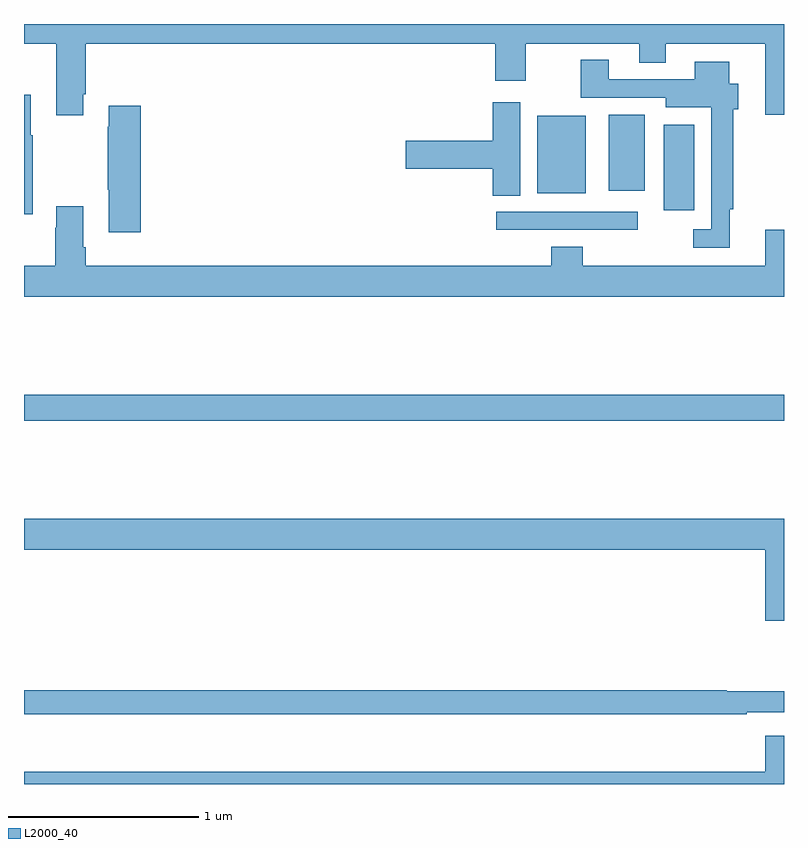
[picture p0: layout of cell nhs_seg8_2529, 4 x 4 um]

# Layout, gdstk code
import gdstk
lib = gdstk.Library(unit=1e-6, precision=1e-09)
def R(c, l, rs):  # rectangles x0, y0, x1, y1
    for r in rs: c.add(gdstk.rectangle(r[:2], r[2:], *l))
def P(c, l, *ps):  # polygons
    for p in ps: c.add(gdstk.Polygon(p, *l))
L2000_40 = (2000, 40)

nhs_seg8_2529 = lib.new_cell('nhs_seg8_2529')
R(nhs_seg8_2529, L2000_40, [(269,1151.812,273,1151.948), (271.485,1152.816,272.23,1152.912), (272.366,1152.921,272.527,1153.369), (271.7,1153.01,271.957,1153.417), (272.078,1153.022,272.266,1153.423)])
P(nhs_seg8_2529, L2000_40, [(272.9,1153.422),(273,1153.422),(273,1153.9),(269,1153.9),(269,1153.796),(269.171,1153.796),(269.171,1153.419),(269.311,1153.419),(269.311,1153.531),(269.324,1153.531),(269.324,1153.796),(271.481,1153.796),(271.481,1153.602),(271.641,1153.602),(271.641,1153.796),(272.237,1153.796),(272.237,1153.697),(272.377,1153.697),(272.377,1153.796),(272.9,1153.796)],
  [(272.714,1152.926),(272.732,1152.926),(272.732,1153.451),(272.758,1153.451),(272.758,1153.585),(272.713,1153.585),(272.713,1153.702),(272.531,1153.702),(272.531,1153.608),(272.077,1153.608),(272.077,1153.711),(271.93,1153.711),(271.93,1153.512),(272.378,1153.512),(272.378,1153.463),(272.616,1153.463),(272.616,1152.819),(272.523,1152.819),(272.523,1152.723),(272.714,1152.723)],
  [(269.047,1153.315),(269.035,1153.315),(269.035,1153.528),(269,1153.528),(269,1152.899),(269.047,1152.899)],
  [(271.612,1153.489),(271.466,1153.489),(271.466,1153.286),(271.008,1153.286),(271.008,1153.139),(271.466,1153.139),(271.466,1152.997),(271.612,1152.997)],
  [(269.615,1153.471),(269.447,1153.471),(269.447,1153.358),(269.44,1153.358),(269.44,1153.027),(269.447,1153.027),(269.447,1152.804),(269.615,1152.804)],
  [(273,1152.817),(272.9,1152.817),(272.9,1152.628),(271.94,1152.628),(271.94,1152.727),(271.775,1152.727),(271.775,1152.628),(269.324,1152.628),(269.324,1152.724),(269.311,1152.724),(269.311,1152.94),(269.171,1152.94),(269.171,1152.827),(269.164,1152.827),(269.164,1152.628),(269,1152.628),(269,1152.464),(273,1152.464)],
  [(273,1151.296),(269,1151.296),(269,1151.132),(272.9,1151.132),(272.9,1150.758),(273,1150.758)],
  [(272.804,1150.278),(273,1150.278),(273,1150.387),(272.699,1150.387),(272.699,1150.394),(269,1150.394),(269,1150.266),(272.804,1150.266)],
  [(273,1150.153),(272.9,1150.153),(272.9,1149.964),(269,1149.964),(269,1149.9),(273,1149.9)])

lib.write_gds('nhs_seg8_2529.gds')
